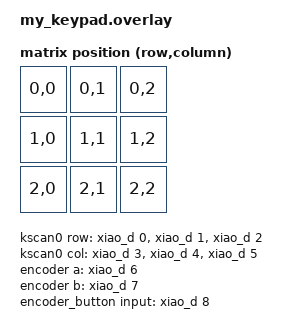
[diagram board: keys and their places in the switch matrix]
#include <dt-bindings/zmk/matrix_transform.h>
#include <dt-bindings/pinctrl/nrf-pinctrl.h>
#include <physical_layouts.dtsi>

&pinctrl {
    i2c1_default: i2c1_default {
        group1 {
            psels = <NRF_PSEL(TWIM_SDA, 0, 4)>,
                    <NRF_PSEL(TWIM_SCL, 0, 5)>;
        };
    };

    i2c1_sleep: i2c1_sleep {
        group1 {
            psels = <NRF_PSEL(TWIM_SDA, 0, 4)>,
                    <NRF_PSEL(TWIM_SCL, 0, 5)>;
            low-power-enable;
        };
    };
};

&i2c1 {
    status = "okay";
    pinctrl-0 = <&i2c1_default>;
    pinctrl-1 = <&i2c1_sleep>;
    pinctrl-names = "default", "sleep";

    ssd1306: ssd1306@3c {
        compatible = "solomon,ssd1306fb";
        reg = <0x3c>;
        width = <128>;
        height = <64>;
        segment-offset = <0>;
        page-offset = <0>;
        display-offset = <0>;
        multiplex-ratio = <63>;
        prechargep = <0x22>;
    };
};

/ {
    chosen {
        zmk,kscan = &kscan0;
        zmk,matrix-transform = &default_transform;
        zephyr,display = &ssd1306;
		zmk,physical-layouts = &physical_layout0;
    };

    default_transform: keymap_transform_0 {
        compatible = "zmk,matrix-transform";
        columns = <3>;
        rows = <3>;
        map = <
            RC(0,0) RC(0,1) RC(0,2)
            RC(1,0) RC(1,1) RC(1,2)
            RC(2,0) RC(2,1) RC(2,2)
        >;
    };
	physical_layout0: physical_layout_0 {
        compatible = "zmk,physical-layout";
        display-name = "Default";
        transform = <&default_transform>;
        kscan = <&kscan0>;

        keys 
            = <&key_physical_attrs 100 100 0   0   0 0 0>
            , <&key_physical_attrs 100 100 100 0   0 0 0>
            , <&key_physical_attrs 100 100 200 0   0 0 0>
            , <&key_physical_attrs 100 100 0   100 0 0 0>
            , <&key_physical_attrs 100 100 100 100 0 0 0>
            , <&key_physical_attrs 100 100 200 100 0 0 0>
            , <&key_physical_attrs 100 100 0   200 0 0 0>
            , <&key_physical_attrs 100 100 100 200 0 0 0>
            , <&key_physical_attrs 100 100 200 200 0 0 0>
            ;
    };
    kscan0: kscan {
        compatible = "zmk,kscan-gpio-matrix";
        diode-direction = "col2row";

        row-gpios
            = <&xiao_d 0 (GPIO_ACTIVE_HIGH | GPIO_PULL_DOWN)>
            , <&xiao_d 1 (GPIO_ACTIVE_HIGH | GPIO_PULL_DOWN)>
            , <&xiao_d 2 (GPIO_ACTIVE_HIGH | GPIO_PULL_DOWN)>
            ;

        col-gpios
            = <&xiao_d 3 GPIO_ACTIVE_HIGH>
            , <&xiao_d 4 GPIO_ACTIVE_HIGH>
            , <&xiao_d 5 GPIO_ACTIVE_HIGH>
            ;
    };

    encoder: encoder {
        compatible = "alps,ec11";
        a-gpios = <&xiao_d 6 (GPIO_ACTIVE_HIGH | GPIO_PULL_UP)>;
        b-gpios = <&xiao_d 7 (GPIO_ACTIVE_HIGH | GPIO_PULL_UP)>;
        steps = <80>;
        status = "okay";
    };

    encoder_button: encoder_button {
        compatible = "zmk,kscan-gpio-direct";
        input-gpios = <&xiao_d 8 (GPIO_ACTIVE_LOW | GPIO_PULL_UP)>;
    };
};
